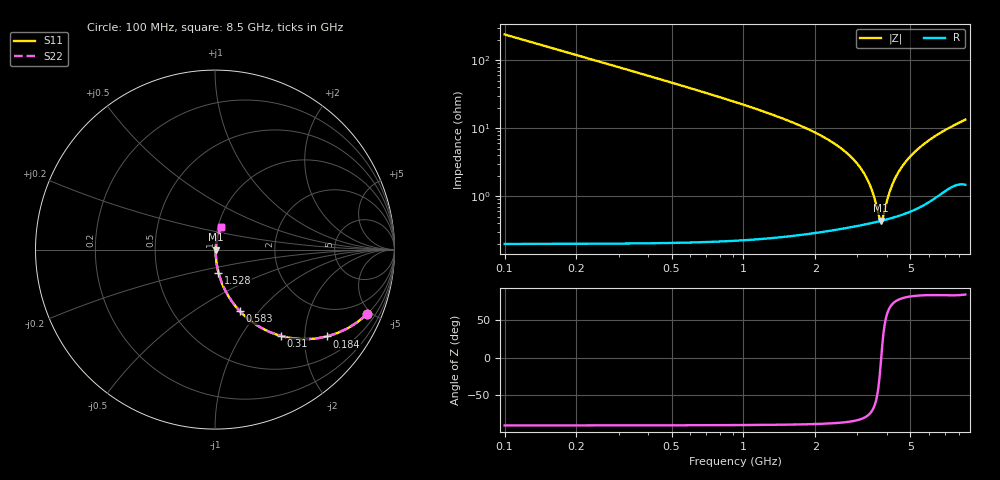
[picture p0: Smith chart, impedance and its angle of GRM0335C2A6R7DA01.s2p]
!Murata Part Number: GRM0335C2A6R7DA01
!These Parameters are Measured in Series Mode Connection
!Data Generated on Mar 30, 2021
!  o--ll--o
!Port1  Port2
!  o------o
!Operation Temp=25[degC], DC Bias Voltage=0[V]
!Freq. Start=100[MHz] Stop=9[GHz] 401[Steps]
# Hz S RI R 50
!Freq.(Hz) S11(Real) S11(Imag) S21(Real) S21(Imag) S12(Real) S12(Imag) S22(Real) S22(Imag)
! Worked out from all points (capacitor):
!   401 points, 100 MHz to 8.5 GHz, reference 50 ohm
!   read as one part in series: C = 6.7 pF near 142 MHz
!   lowest |Z| = 437 mohm at 3.775 GHz (marker M1)
!   series resonance near 3.776 GHz, so ESL is about 270 pH
!   S11 on the Smith chart (normalised r, x): 100 MHz: 1.00, -4.75; 184 MHz: 1.00, -2.58; 310 MHz: 1.00, -1.52; 583 MHz: 1.00, -0.80; 1.528 GHz: 1.01, -0.26; 8.5 GHz: 1.03, +0.27
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1e8  0.8491 -0.3576  0.1509 0.3576  0.1509 0.3576  0.8491 -0.3576
1.84e8  0.6237 -0.4837  0.3763 0.4837  0.3763 0.4837  0.6237 -0.4837
3.1e8  0.3672 -0.4807  0.6328 0.4807  0.6328 0.4807  0.3672 -0.4807
4.36e8  0.2251 -0.4158  0.7749 0.4158  0.7749 0.4158  0.2251 -0.4158
5.83e8  0.138 -0.3423  0.862 0.3423  0.862 0.3423  0.138 -0.3423
9.19e8  0.0578 -0.2288  0.9422 0.2288  0.9422 0.2288  0.0578 -0.2288
1.507e9  0.0198 -0.13  0.9802 0.13  0.9802 0.13  0.0198 -0.13
1.528e9  0.0192 -0.1276  0.9808 0.1276  0.9808 0.1276  0.0192 -0.1276
2.41e9  0.00663 -0.0584  0.9934 0.0584  0.9934 0.0584  0.00663 -0.0584
2.914e9  0.0047 -0.0333  0.9953 0.0333  0.9953 0.0333  0.0047 -0.0333
3.355e9  0.00419 -0.0151  0.9958 0.0151  0.9958 0.0151  0.00419 -0.0151
3.523e9  0.00419 -0.0089  0.9958 0.0089  0.9958 0.0089  0.00419 -0.0089
3.712e9  0.0043 -0.0022  0.9957 0.0022  0.9957 0.0022  0.0043 -0.0022
3.775e9  0.00435 -2.92e-05  0.9956 2.92e-05  0.9956 2.92e-05  0.00435 -2.92e-05
3.838e9  0.00442 0.00211  0.9956 -0.00211  0.9956 -0.00211  0.00442 0.00211
4.09e9  0.00479 0.0104  0.9952 -0.0104  0.9952 -0.0104  0.00479 0.0104
4.3e9  0.00521 0.017  0.9948 -0.017  0.9948 -0.017  0.00521 0.017
4.552e9  0.00586 0.0246  0.9941 -0.0246  0.9941 -0.0246  0.00586 0.0246
4.867e9  0.00686 0.0339  0.9931 -0.0339  0.9931 -0.0339  0.00686 0.0339
5.707e9  0.0107 0.0572  0.9893 -0.0572  0.9893 -0.0572  0.0107 0.0572
7.114e9  0.0211 0.0932  0.9789 -0.0932  0.9789 -0.0932  0.0211 0.0932
8.5e9  0.0312 0.127  0.9688 -0.127  0.9688 -0.127  0.0312 0.127
